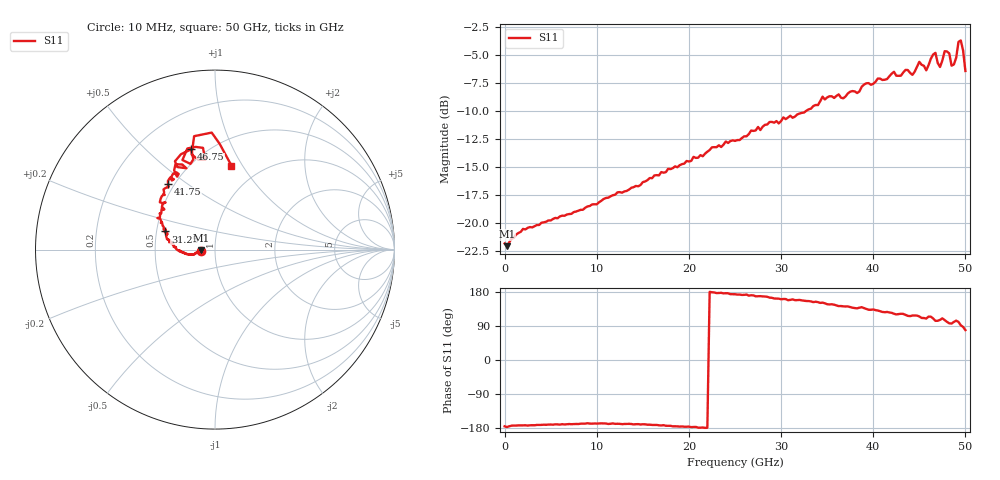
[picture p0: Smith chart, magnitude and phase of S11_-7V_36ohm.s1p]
!Agilent Technologies,N5227A,US51270434,A.10.00.00
!Agilent N5227A: A.10.00.00
!Date: Thursday, February 26, 2026 12:52:43
!Correction: S11(Full 1 Port(1))
!S1P File: Measurement: S11:
# Hz S  dB  R 50
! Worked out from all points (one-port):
!   201 points, 10 MHz to 50 GHz, reference 50 ohm
!   lowest |S11| = -22.1 dB at 259.9 MHz (marker M1), VSWR 1.17, Z = 42.7 - j0.363 ohm
!   |S11| at or under -10 dB: start of sweep to 32.72 GHz
!   S11 on the Smith chart (normalised r, x): 10 MHz: 0.85, -0.01; 31.25 GHz: 0.56, +0.12; 41.75 GHz: 0.46, +0.43; 46.75 GHz: 0.42, +0.70; 50 GHz: 0.74, +0.90
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1e7  -21.82 -175.0
2.5995e8  -22.06 -176.9
2.0096e9  -20.52 -172.5
6.25875e9  -19.34 -169.4
1.25075e10  -17.24 -168.5
1.875625e10  -15.02 -175.1
2.5005e10  -12.67 173.5
3.125375e10  -10.61 160.0
3.45031e10  -8.73 151.3
3.75025e10  -8.28 139.5
4.175165e10  -6.91 125.4
4.375125e10  -6.35 116.6
4.425115e10  -6.78 117.4
4.475105e10  -6.06 117.2
4.5001e10  -5.62 114.9
4.575085e10  -6.37 109.3
4.625075e10  -5.35 114.4
4.675065e10  -4.82 103.3
4.725055e10  -6.08 106.0
4.75005e10  -5.50 110.0
4.80004e10  -4.70 100.7
4.825035e10  -4.87 96.7
4.85003e10  -5.96 96.2
4.875025e10  -5.86 100.5
4.90002e10  -5.26 103.8
4.925015e10  -3.84 100.4
4.95001e10  -3.71 91.6
5e10  -6.44 78.9
